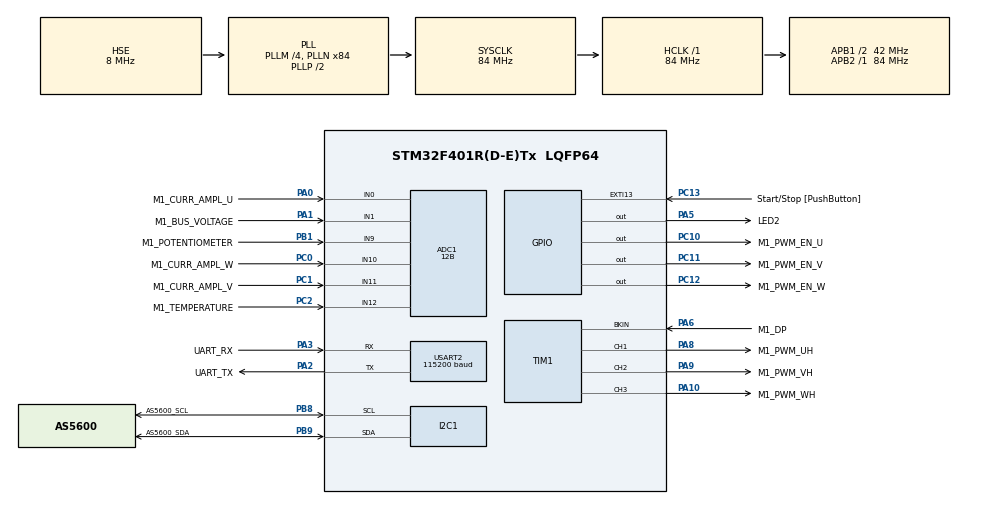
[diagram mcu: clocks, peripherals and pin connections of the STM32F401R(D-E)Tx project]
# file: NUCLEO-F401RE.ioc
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ADC1.Channel-1\#ChannelInjectedConversion=ADC_CHANNEL_0
ADC1.Channel-1\#ChannelRegularConversion=ADC_CHANNEL_1
ADC1.Channel-2\#ChannelInjectedConversion=ADC_CHANNEL_11
ADC1.Channel-2\#ChannelRegularConversion=ADC_CHANNEL_12
ADC1.Channel-3\#ChannelInjectedConversion=ADC_CHANNEL_10
ADC1.Channel-3\#ChannelRegularConversion=ADC_CHANNEL_9
ADC1.ClockPrescaler=ADC_CLOCK_SYNC_PCLK_DIV4
ADC1.ContinuousConvMode=DISABLE
ADC1.DMAContinuousRequests=DISABLE
ADC1.DataAlign=ADC_DATAALIGN_LEFT
ADC1.DiscontinuousConvMode=DISABLE
ADC1.EOCSelection=ADC_EOC_SINGLE_CONV
ADC1.EnableAnalogWatchDog=false
ADC1.EnableInjectedConversion=ENABLE
ADC1.EnableRegularConversion=ENABLE
ADC1.ExternalTrigConv=ADC_SOFTWARE_START
ADC1.ExternalTrigConvEdge=ADC_EXTERNALTRIGCONVEDGE_NONE
ADC1.ExternalTrigInjecConv=ADC_EXTERNALTRIGINJECCONV_T1_CC4
ADC1.ExternalTrigInjecConvEdge=ADC_EXTERNALTRIGINJECCONVEDGE_RISING
ADC1.InjNumberOfConversion=3
ADC1.InjectedConvMode=None
ADC1.InjectedOffset-1\#ChannelInjectedConversion=0
ADC1.InjectedOffset-2\#ChannelInjectedConversion=0
ADC1.InjectedOffset-3\#ChannelInjectedConversion=0
ADC1.InjectedRank-1\#ChannelInjectedConversion=1
ADC1.InjectedRank-2\#ChannelInjectedConversion=2
ADC1.InjectedRank-3\#ChannelInjectedConversion=3
ADC1.NbrOfConversion=3
ADC1.NbrOfConversionFlag=1
ADC1.Offset-1\#ChannelRegularConversion=0
ADC1.Offset-2\#ChannelRegularConversion=0
ADC1.Offset-3\#ChannelRegularConversion=0
ADC1.OffsetNumber-1\#ChannelRegularConversion=ADC_OFFSET_NONE
ADC1.OffsetNumber-2\#ChannelRegularConversion=ADC_OFFSET_NONE
ADC1.OffsetNumber-3\#ChannelRegularConversion=ADC_OFFSET_NONE
ADC1.Rank-1\#ChannelRegularConversion=1
ADC1.Rank-2\#ChannelRegularConversion=2
ADC1.Rank-3\#ChannelRegularConversion=3
ADC1.Resolution=ADC_RESOLUTION_12B
ADC1.SamplingTime-1\#ChannelInjectedConversion=ADC_SAMPLETIME_15CYCLES
ADC1.SamplingTime-1\#ChannelRegularConversion=ADC_SAMPLETIME_28CYCLES
ADC1.SamplingTime-2\#ChannelInjectedConversion=ADC_SAMPLETIME_15CYCLES
ADC1.SamplingTime-2\#ChannelRegularConversion=ADC_SAMPLETIME_28CYCLES
ADC1.SamplingTime-3\#ChannelInjectedConversion=ADC_SAMPLETIME_15CYCLES
ADC1.SamplingTime-3\#ChannelRegularConversion=ADC_SAMPLETIME_28CYCLES
ADC1.ScanConvMode=ENABLE
ADC1.master=1
Dma.Request0=USART2_RX
Dma.Request1=USART2_TX
Dma.USART2_RX.0.Direction=DMA_PERIPH_TO_MEMORY
Dma.USART2_RX.0.FIFOMode=DMA_FIFOMODE_DISABLE
Dma.USART2_RX.0.Instance=DMA1_Stream5
Dma.USART2_RX.0.MemDataAlignment=DMA_MDATAALIGN_BYTE
Dma.USART2_RX.0.MemInc=DMA_MINC_ENABLE
Dma.USART2_RX.0.Mode=DMA_NORMAL
Dma.USART2_RX.0.PeriphDataAlignment=DMA_PDATAALIGN_BYTE
Dma.USART2_RX.0.PeriphInc=DMA_PINC_DISABLE
Dma.USART2_RX.0.Priority=DMA_PRIORITY_LOW
Dma.USART2_TX.1.Direction=DMA_MEMORY_TO_PERIPH
Dma.USART2_TX.1.FIFOMode=DMA_FIFOMODE_DISABLE
Dma.USART2_TX.1.Instance=DMA1_Stream6
Dma.USART2_TX.1.MemDataAlignment=DMA_MDATAALIGN_BYTE
Dma.USART2_TX.1.MemInc=DMA_MINC_ENABLE
Dma.USART2_TX.1.Mode=DMA_NORMAL
Dma.USART2_TX.1.PeriphDataAlignment=DMA_PDATAALIGN_BYTE
Dma.USART2_TX.1.PeriphInc=DMA_PINC_DISABLE
Dma.USART2_TX.1.Priority=DMA_PRIORITY_LOW
ExtraMW=MotorControl
ExtraMW.MotorControl.Config=MotorControl
ExtraMW.MotorControl.Mode=MotorControl
ExtraMW.MotorControl.Root=MCSDK_v6.4.2-Full/MotorControl
ExtraMW.MotorControl.Template=templates
I2C1.I2C_Mode=I2C_Fast
Mcu.Family=STM32F4
Mcu.Name=STM32F401R(D-E)Tx
Mcu.Package=LQFP64
MotorControl.ADC_AHBPERIPH=RCC_AHBPeriph_ADC1
MotorControl.ADC_CLOCK_WB_DIV=1
MotorControl.ADC_PERIPH=ADC1
MotorControl.ADC_REFERENCE_VOLTAGE=3.3
MotorControl.BOARD=NUCLEO-F401RE
MotorControl.BUS_VOLTAGE_READING=true
MotorControl.CCMRAM_ENABLED=false
MotorControl.CLOCK_FREQUENCY=CPU_CLK_84_MHZ
MotorControl.CLOCK_SOURCE=EXTERNAL
MotorControl.CPU_CLK_84_MHZ=true
MotorControl.CTLBOARD_NAME=NUCLEO-F401RE
MotorControl.CUBE_MX_VER=6.18.0
MotorControl.CURRENT_READING_TOPOLOGY=THREE_SHUNT
MotorControl.CURR_SAMPLING_TIME=15
MotorControl.DBG_MCU_LOAD_MEASURE=true
MotorControl.DEBUG_DAC_FUNCTIONALITY_EN=false
MotorControl.DP_EMERGENCY_STOP_GPIO_PIN=LL_GPIO_PIN_6
MotorControl.DP_EMERGENCY_STOP_GPIO_PORT=GPIOA
MotorControl.DRIVES_NUMBER_SELECTION=SINGLEDRIVE
MotorControl.DRIVE_NUMBER=1
MotorControl.DRIVE_TYPE=FOC
MotorControl.ENCODER_AVAILABLE=false
MotorControl.ENCODER_PPR=400
MotorControl.EXT_CLK_8_MHZ=true
MotorControl.EXT_CLOCK_FREQUENCY=EXT_CLK_8_MHZ
MotorControl.FEEDBACK_NET_FILTERING=false
MotorControl.FLASH_SIZE=512
MotorControl.HALL_SENSORS_AVAILABLE=false
MotorControl.HIGH_SIDE_IDLE_STATE=false
MotorControl.HWV_CS=ThreeShunt_AmplifiedCurrents
MotorControl.HWV_DP=SingleErrorTrigger_FixedReference
MotorControl.HWV_POTENTIOMETER=Potentiometer
MotorControl.HWV_PWM=DrivingHighSidesAndThreeEnables
MotorControl.HW_COMPLEMENTED_LOW_SIDE=true
MotorControl.HW_DEAD_TIME_NS=1000
MotorControl.IPs=NVIC,RCC,SYS,MotorControl,TIM1,ADC1,USART2,DMA
MotorControl.LOW_MEMORY_FOOTPRINT_REG=false
MotorControl.LOW_SIDE_IDLE_STATE=false
MotorControl.LOW_SIDE_SIGNALS_ENABLING=ES_GPIO
MotorControl.M1_AMPLIFICATION_GAIN=1.53
MotorControl.M1_ANGC={0,0,0,0,0,0,0,0}
MotorControl.M1_AUXILIARY_SPEED_SENSOR=NONE
MotorControl.M1_BEMF_CONSISTENCY_GAIN=64
MotorControl.M1_BEMF_CONSISTENCY_TOL=64
MotorControl.M1_BOARD_MAX_CURRENT=2
MotorControl.M1_BUS_VOLTAGE_READING=true
MotorControl.M1_COMMUTATION_STEP_TIME_BUF_SIZE=12
MotorControl.M1_CONSTANT1_D=68158
MotorControl.M1_CONSTANT1_Q=68158
MotorControl.M1_CONSTANT2_QD=12009
MotorControl.M1_CS_ADC_NUM=1
MotorControl.M1_CS_ADC_PHASE_SHARED=NONE
MotorControl.M1_CS_ADC_U=ADC1
MotorControl.M1_CS_ADC_V=ADC1
MotorControl.M1_CS_ADC_W=ADC1
MotorControl.M1_CS_CHANNEL_U=0
MotorControl.M1_CS_CHANNEL_V=11
MotorControl.M1_CS_CHANNEL_W=10
MotorControl.M1_CURRENT_AMPLIFICATION_TOPO=EXTERNAL
MotorControl.M1_CURRENT_SENSING_TOPO=THREE_SHUNT
MotorControl.M1_CURR_SAMPLING_TIME=15
MotorControl.M1_DBG_OPEN_LOOP_ENABLE=false
MotorControl.M1_DC_CURRENT_RS_MEAS=2
MotorControl.M1_DEFAULT_CONTROL_MODE=STC_SPEED_MODE
MotorControl.M1_DEFAULT_FLUX_COMPONENT=0
MotorControl.M1_DEFAULT_TARGET_SPEED_RPM=901
MotorControl.M1_DEFAULT_TORQUE_COMPONENT=0
MotorControl.M1_DISCONTINUOUS_PWM=false
MotorControl.M1_DP_BKIN_FILTER=4
MotorControl.M1_DP_BKIN_MODE=EXT_MODE
MotorControl.M1_DP_BKIN_POLARITY=EMSTOP_ACTIVE_LOW
MotorControl.M1_DP_DESTINATION=TIM_BKIN
MotorControl.M1_DP_TOPOLOGY=EXTERNAL
MotorControl.M1_DRIVE_TYPE=FOC
MotorControl.M1_ENABLE_SL_ALGO_FROM_PHASE=2
MotorControl.M1_ENCODER_PPR=400
MotorControl.M1_F1=16384
MotorControl.M1_F2=8192
MotorControl.M1_FEED_FORWARD_CURRENT_REG_ENABLING=true
MotorControl.M1_FLUX_WEAKENING_ENABLING=true
MotorControl.M1_FW_KIDIV=32768
MotorControl.M1_FW_KI_GAIN=5000
MotorControl.M1_FW_KPDIV=32768
MotorControl.M1_FW_KP_GAIN=3000
MotorControl.M1_FW_VOLTAGE_REF=985
MotorControl.M1_GAIN1=-21509
MotorControl.M1_GAIN2=26133
MotorControl.M1_HALL_PHASE_SHIFT=300
MotorControl.M1_HALL_SENSORS_PLACEMENT=DEGREES_120
MotorControl.M1_HIGH_SIDE_IDLE_STATE=false
MotorControl.M1_HW_DEAD_TIME_NS=1000
MotorControl.M1_ICL_ENABLED=false
MotorControl.M1_ID_DEMAG=-2
MotorControl.M1_IQMAX=2
MotorControl.M1_LDLQ_RATIO=1.000
MotorControl.M1_LOW_SIDE_IDLE_STATE=false
MotorControl.M1_LOW_SIDE_SIGNALS_ENABLING=ES_GPIO
MotorControl.M1_LS=0.0008
MotorControl.M1_MAX_APPLICATION_SPEED=2502
MotorControl.M1_MAX_MODULATION_INDEX=90
MotorControl.M1_MIN_APPLICATION_SPEED=0
MotorControl.M1_MOTOR_MAX_SPEED_RPM=2502
MotorControl.M1_MOTOR_NAME=yuntai2804
MotorControl.M1_MOTOR_RATED_FLUX=0.023185554
MotorControl.M1_MOTOR_VOLTAGE_CONSTANT=3.3
MotorControl.M1_MTPA_ENABLING=false
MotorControl.M1_NB_CONSECUTIVE_TESTS=2
MotorControl.M1_NOMINAL_BUS_VOLTAGE_V=12
MotorControl.M1_NOMINAL_CURRENT=2
MotorControl.M1_OBS_MINIMUM_SPEED_RPM=901
MotorControl.M1_OCP_TOPOLOGY=NONE
MotorControl.M1_OFST={0,0,0,0,0,0,0,0}
MotorControl.M1_ON_OVER_VOLTAGE=TURN_OFF_PWM
MotorControl.M1_OVERMODULATION=false
MotorControl.M1_OVP_THRESHOLD_HIGH=14.7
MotorControl.M1_OV_TEMPERATURE_HYSTERESIS_C=10
MotorControl.M1_OV_TEMPERATURE_PROT_ENABLING=true
MotorControl.M1_OV_TEMPERATURE_THRESHOLD_C=110
MotorControl.M1_OV_VOLTAGE_PROT_ENABLING=true
MotorControl.M1_OV_VOLTAGE_THRESHOLD_V=14.7
MotorControl.M1_PHASE1_DURATION=1000
MotorControl.M1_PHASE1_FINAL_CURRENT=2
MotorControl.M1_PHASE1_FINAL_SPEED_RPM=0
MotorControl.M1_PHASE2_DURATION=2002
MotorControl.M1_PHASE2_FINAL_CURRENT=2
MotorControl.M1_PHASE2_FINAL_SPEED_RPM=1001
MotorControl.M1_PHASE3_DURATION=0
MotorControl.M1_PHASE3_FINAL_CURRENT=2
MotorControl.M1_PHASE3_FINAL_SPEED_RPM=1001
MotorControl.M1_PHASE4_DURATION=0
MotorControl.M1_PHASE4_FINAL_CURRENT=2
MotorControl.M1_PHASE4_FINAL_SPEED_RPM=1001
MotorControl.M1_PHASE5_DURATION=0
MotorControl.M1_PHASE5_FINAL_CURRENT=2
MotorControl.M1_PHASE5_FINAL_SPEED_RPM=1001
MotorControl.M1_PID_FLUX_KD_DEFAULT=100
MotorControl.M1_PID_FLUX_KI_DEFAULT=2622
MotorControl.M1_PID_FLUX_KP_DEFAULT=2627
MotorControl.M1_PID_SPEED_KD_DEFAULT=0
MotorControl.M1_PID_SPEED_KI_DEFAULT=48
MotorControl.M1_PID_SPEED_KP_DEFAULT=2881
MotorControl.M1_PID_TORQUE_KD_DEFAULT=100
MotorControl.M1_PID_TORQUE_KI_DEFAULT=2622
MotorControl.M1_PID_TORQUE_KP_DEFAULT=2627
MotorControl.M1_PLL_KI_GAIN=26
MotorControl.M1_PLL_KP_GAIN=582
MotorControl.M1_POLE_PAIR_NUM=7
MotorControl.M1_POSITION_CTRL_ENABLING=false
MotorControl.M1_POTENTIOMETER_ENABLE=true
MotorControl.M1_POWERBOARD_NAME=X-NUCLEO-IHM07M1
MotorControl.M1_PWM_CHARGE_BOOT_CAP_DUTY_CYCLES=0.000
MotorControl.M1_PWM_CHARGE_BOOT_CAP_MS=10
MotorControl.M1_PWM_DRIVER_PN=L6230
MotorControl.M1_PWM_FREQUENCY=16000
MotorControl.M1_PWM_TIMER_BRK_IRQ=TIM1_BRK_TIM9
MotorControl.M1_PWM_TIMER_SELECTION=PWM_TIM1
MotorControl.M1_PWM_TIMER_UP_IRQ=TIM1_UP_TIM10
MotorControl.M1_REGULATION_EXECUTION_RATE=1
MotorControl.M1_RS=3.19
MotorControl.M1_RSHUNT=0.33
MotorControl.M1_SEGDIV=0
MotorControl.M1_SHARED_SIGNAL_ENABLE=false
MotorControl.M1_SPD_DIFFERENTIAL_TERM_ENABLING=false
MotorControl.M1_SPEED_BAND_LOWER_LIMIT=15
MotorControl.M1_SPEED_BAND_UPPER_LIMIT=17
MotorControl.M1_SPEED_FEEDBACK_CHECK=true
MotorControl.M1_SPEED_LOOP_FREQUENCY_HZ=1000
MotorControl.M1_SPEED_SENSOR=STO_PLL
MotorControl.M1_SP_KDDIV=16
MotorControl.M1_SP_KIDIV=16384
MotorControl.M1_SP_KPDIV=512
MotorControl.M1_SS_MEAS_ERRORS_BEFORE_FAULTS=3
MotorControl.M1_STARTING_ANGLE_DEG=0
MotorControl.M1_STO_FIFO_DEPTH_01HZ=64
MotorControl.M1_STO_FIFO_DEPTH_DPP=64
MotorControl.M1_SW_DEADTIME_NS=1000
MotorControl.M1_T0_C=25
MotorControl.M1_TEMPERATURE_READING=true
MotorControl.M1_TEMP_ADC_SAMPLING_TIME=28
MotorControl.M1_TEMP_FDBK_ADC=ADC1
MotorControl.M1_TEMP_FDBK_CHANNEL=ADC_CHANNEL_12
MotorControl.M1_TF_KDDIV=8192
MotorControl.M1_TF_KIDIV=4096
MotorControl.M1_TF_KPDIV=1024
MotorControl.M1_TNOISE_NS=700
MotorControl.M1_TRANSITION_DURATION=25
MotorControl.M1_TRISE_NS=1800
MotorControl.M1_T_MAX=110
MotorControl.M1_UD_VOLTAGE_THRESHOLD_V=8.0
MotorControl.M1_USE_INTERNAL_OPAMP=false
MotorControl.M1_UV_VOLTAGE_PROT_ENABLING=true
MotorControl.M1_V0_V=1.055
MotorControl.M1_VARIANCE_THRESHOLD=0.25
MotorControl.M1_VBUS_ADC=ADC1
MotorControl.M1_VBUS_ADC_SAMPLING_TIME=28
MotorControl.M1_VBUS_CHANNEL=ADC_CHANNEL_1
MotorControl.M1_VBUS_PARTITIONING_FACTOR=0.052164840897235255
MotorControl.M1_dV_dT=0.023
MotorControl.MAX_READABLE_CURRENT=3.272
MotorControl.MCPA_OVER_UART_A_STREAM=10
MotorControl.MCP_ASPEP_OVER_UART=true
MotorControl.MCP_ASYNC_EN=true
MotorControl.MCP_ASYNC_OVER_ASPEP_EN=true
MotorControl.MCP_ASYNC_OVER_UART_A_EN=true
MotorControl.MCP_DMACH_RX_UART_A=5
MotorControl.MCP_DMACH_TX_UART_A=6
MotorControl.MCP_DMA_RX_UART_A=DMA1
MotorControl.MCP_DMA_TX_UART_A=DMA1
MotorControl.MCP_EN=true
MotorControl.MCP_IRQ_HANDLER_DMA_RX_UART_A=DMA1_Stream5_IRQHandler
MotorControl.MCP_IRQ_HANDLER_UART_A=USART2_IRQHandler
MotorControl.MCP_OVER_ASPEP_EN=true
MotorControl.MCP_OVER_STLNK_EN=false
MotorControl.MCP_OVER_UART_A_EN=true
MotorControl.MCP_OVER_UART_B_EN=false
MotorControl.MCP_RX_SYNC_PAYLOAD_MAX=128
MotorControl.MCP_TX_ASYNC_PAYLOAD_MAX_UART_A=2048
MotorControl.MCP_TX_SYNC_PAYLOAD_MAX=128
MotorControl.MCU=STM32F401RE
MotorControl.MCU_FAMILY=STM32F4
MotorControl.MCU_LINE=STM32F401
MotorControl.MCU_NAME=STM32F401R(D-E)Tx
MotorControl.MCU_PACKAGE=LQFP64
MotorControl.MCU_TYPE=STM32F401RE
MotorControl.MCU_USERNAME=STM32F401RETx
MotorControl.MC_WORKBENCH_VERSION=6.4.2
MotorControl.MOTOR_PROFILER=false
MotorControl.MOTOR_TYPE=PMSM
MotorControl.ON_OVER_VOLTAGE=TURN_OFF_PWM
MotorControl.OV_TEMPERATURE_PROT_ENABLING=true
MotorControl.OV_VOLTAGE_PROT_ENABLING=true
MotorControl.PHASE_UH_GPIO_PIN=LL_GPIO_PIN_8
MotorControl.PHASE_UH_GPIO_PORT=GPIOA
MotorControl.PHASE_UH_POLARITY=H_ACTIVE_HIGH
MotorControl.PHASE_UL_GPIO_PIN=LL_GPIO_PIN_10
MotorControl.PHASE_UL_GPIO_PORT=GPIOC
MotorControl.PHASE_UL_POLARITY=L_ACTIVE_HIGH
MotorControl.PHASE_U_CURR_ADC=ADC1
MotorControl.PHASE_U_CURR_CHANNEL=ADC_CHANNEL_0
MotorControl.PHASE_U_GPIO_PIN=LL_GPIO_PIN_0
MotorControl.PHASE_U_GPIO_PORT=GPIOA
MotorControl.PHASE_U_PWM_CHANNEL=TIM_Channel_1
MotorControl.PHASE_VH_GPIO_PIN=LL_GPIO_PIN_9
MotorControl.PHASE_VH_GPIO_PORT=GPIOA
MotorControl.PHASE_VH_POLARITY=H_ACTIVE_HIGH
MotorControl.PHASE_VL_GPIO_PIN=LL_GPIO_PIN_11
MotorControl.PHASE_VL_GPIO_PORT=GPIOC
MotorControl.PHASE_VL_POLARITY=L_ACTIVE_HIGH
MotorControl.PHASE_V_CURR_ADC=ADC1
MotorControl.PHASE_V_CURR_CHANNEL=ADC_CHANNEL_11
MotorControl.PHASE_V_GPIO_PIN=LL_GPIO_PIN_1
MotorControl.PHASE_V_GPIO_PORT=GPIOC
MotorControl.PHASE_V_PWM_CHANNEL=TIM_Channel_2
MotorControl.PHASE_WH_GPIO_PIN=LL_GPIO_PIN_10
MotorControl.PHASE_WH_GPIO_PORT=GPIOA
MotorControl.PHASE_WH_POLARITY=H_ACTIVE_HIGH
MotorControl.PHASE_WL_GPIO_PIN=LL_GPIO_PIN_12
MotorControl.PHASE_WL_GPIO_PORT=GPIOC
MotorControl.PHASE_WL_POLARITY=L_ACTIVE_HIGH
MotorControl.PHASE_W_CURR_ADC=ADC1
MotorControl.PHASE_W_CURR_CHANNEL=ADC_CHANNEL_10
MotorControl.PHASE_W_GPIO_PIN=LL_GPIO_PIN_0
MotorControl.PHASE_W_GPIO_PORT=GPIOC
MotorControl.PHASE_W_PWM_CHANNEL=TIM_Channel_3
MotorControl.POTENTIOMETER_ADC=ADC1
MotorControl.POTENTIOMETER_ADC_SAMPLING_TIME=28
MotorControl.POTENTIOMETER_CHANNEL=ADC_CHANNEL_9
MotorControl.POTENTIOMETER_GPIO_PIN=LL_GPIO_PIN_1
MotorControl.POTENTIOMETER_GPIO_PORT=GPIOB
MotorControl.POTENTIOMETER_READING=true
MotorControl.PWM_FREQUENCY=16000
MotorControl.PWM_TIMER_SELECTION=PWM_TIM1
MotorControl.REGULATION_EXECUTION_RATE=1
MotorControl.RTOS=NONE
MotorControl.R_BRAKE_SWITCH_OFF_THRES_V=12
MotorControl.SINGLEDRIVE=true
MotorControl.SPD_DIFFERENTIAL_TERM_ENABLING=false
MotorControl.SPEED_SENSOR_SELECTION=STATE_OBSERVER_PLL
MotorControl.START_STOP_BTN=true
MotorControl.START_STOP_GPIO_IRQ=EXTI15_10
MotorControl.START_STOP_GPIO_PIN=LL_GPIO_PIN_13
MotorControl.START_STOP_GPIO_PORT=GPIOC
MotorControl.START_STOP_POLARITY=DIN_ACTIVE_LOW
MotorControl.START_STOP_POLARITY_EDGE=GPIO_NOPULL
MotorControl.STATE_OBSERVER_PLL=true
MotorControl.STM32F401RE=true
MotorControl.SW_DEADTIME_NS=1000
MotorControl.TEMPERATURE_READING=true
MotorControl.TEMP_ADC_SAMPLING_TIME=28
MotorControl.TEMP_FDBK_ADC=ADC1
MotorControl.TEMP_FDBK_CHANNEL=ADC_CHANNEL_12
MotorControl.TEMP_FDBK_GPIO_PIN=LL_GPIO_PIN_2
MotorControl.TEMP_FDBK_GPIO_PORT=GPIOC
MotorControl.TFDIFFERENTIAL_TERM_ENABLING=false
MotorControl.THREE_SHUNT=true
MotorControl.TRISE_NS=1800
MotorControl.USART_RX_GPIO_PIN=LL_GPIO_PIN_3
MotorControl.USART_RX_GPIO_PORT=GPIOA
MotorControl.USART_SELECTION=USE_USART2
MotorControl.USART_SELECTION_A=USART2
MotorControl.USART_SPEED=921600
MotorControl.USART_TX_GPIO_PIN=LL_GPIO_PIN_2
MotorControl.USART_TX_GPIO_PORT=GPIOA
MotorControl.USE_3OPAMPS=false
MotorControl.USE_INTERNAL_OPAMP=false
MotorControl.UV_VOLTAGE_PROT_ENABLING=true
MotorControl.VBUS_ADC=ADC1
MotorControl.VBUS_ADC_SAMPLING_TIME=28
MotorControl.VBUS_CHANNEL=ADC_CHANNEL_1
MotorControl.VBUS_GPIO_PIN=LL_GPIO_PIN_1
MotorControl.VBUS_GPIO_PORT=GPIOA
MotorControl.WB_MX_HEAPSIZE=0x200
MotorControl.WB_MX_STACKSIZE=0x400
MotorControl.WB_MX_TRUSTZONE_AVAILABLE=false
MotorControl.WB_UI_CUTOFF_FREQUENCY=6000
MotorControl.WB_UI_DP_DISABLING_ENABLE=false
MotorControl.WB_UI_ENCODER_HAS_INDEX_PIN=false
MotorControl.WB_UI_FLUX_TARGET=0
MotorControl.WB_UI_FRICTION=0.33
MotorControl.WB_UI_INERTIA=0.64
MotorControl.WB_UI_MAGNETIC_STRUCTURE=SM-PMSM
MotorControl.WB_UI_MAX_CURRENT=2
MotorControl.WB_UI_MAX_NOMINAL_DC_VOLTAGE=12
MotorControl.WB_UI_MAX_PWMFREQUENCY=100000
MotorControl.WB_UI_MOTOR_DESCRIPTION=7pole-2502rpm-2apk
MotorControl.WB_UI_PW_BOARD_MAX_RATED_CURRENT=2.8
MotorControl.WB_UI_PW_BOARD_MAX_VOLTAGE=48
MotorControl.WB_UI_PW_BOARD_MIN_VOLTAGE=8
MotorControl.WB_UI_VPOL=1.559
MotorControl.WB_to_Mx_template_version=25-05-06
MotorControl.WB_to_Mx_version=6.4.2
NVIC.ADC_IRQn=true\:2\:0\:true\:true\:false\:3\:false\:true\:true
NVIC.DMA1_Stream5_IRQn=true\:3\:0\:true\:true\:false\:2\:true\:true\:true
NVIC.EXTI15_10_IRQn=true\:3\:0\:false\:true\:false\:6\:true\:true\:true
NVIC.PriorityGroup=NVIC_PRIORITYGROUP_3
NVIC.TIM1_BRK_TIM9_IRQn=true\:4\:1\:false\:true\:false\:5\:true\:true\:true
NVIC.TIM1_UP_TIM10_IRQn=true\:0\:0\:false\:true\:false\:4\:true\:true\:true
NVIC.USART2_IRQn=true\:3\:1\:true\:true\:false\:1\:true\:true\:true
PA0-WKUP.GPIO_Label=M1_CURR_AMPL_U
PA0-WKUP.Signal=ADCx_IN0
PA1.GPIO_Label=M1_BUS_VOLTAGE
PA1.Signal=ADCx_IN1
PA10.GPIO_Label=M1_PWM_WH
PA10.GPIO_PuPd=GPIO_PULLDOWN
PA10.GPIO_Speed=GPIO_SPEED_FREQ_HIGH
PA10.Signal=S_TIM1_CH3
PA2.GPIO_Label=UART_TX
PA2.GPIO_Mode=GPIO_MODE_AF_PP
PA2.GPIO_PuPd=GPIO_NOPULL
PA2.GPIO_Speed=GPIO_SPEED_FREQ_LOW
PA2.Mode=Asynchronous
PA2.Signal=USART2_TX
PA3.GPIO_Label=UART_RX
PA3.GPIO_Mode=GPIO_MODE_AF_PP
PA3.GPIO_PuPd=GPIO_NOPULL
PA3.GPIO_Speed=GPIO_SPEED_FREQ_LOW
PA3.Mode=Asynchronous
PA3.Signal=USART2_RX
PA5.GPIO_Label=LED2
PA5.GPIO_PuPd=GPIO_PULLDOWN
PA5.PinState=GPIO_PIN_SET
PA5.Signal=GPIO_Output
PA6.GPIO_Label=M1_DP
PA6.GPIO_PuPd=GPIO_PULLUP
PA6.Mode=Activate-Break-Input
PA6.Signal=TIM1_BKIN
PA8.GPIO_Label=M1_PWM_UH
PA8.GPIO_PuPd=GPIO_PULLDOWN
PA8.GPIO_Speed=GPIO_SPEED_FREQ_HIGH
PA8.Signal=S_TIM1_CH1
PA9.GPIO_Label=M1_PWM_VH
PA9.GPIO_PuPd=GPIO_PULLDOWN
PA9.GPIO_Speed=GPIO_SPEED_FREQ_HIGH
PA9.Signal=S_TIM1_CH2
PB1.GPIO_Label=M1_POTENTIOMETER
PB1.Signal=ADCx_IN9
PB8.GPIO_Label=AS5600_SCL
PB8.Mode=I2C
PB8.Signal=I2C1_SCL
PB9.GPIO_Label=AS5600_SDA
PB9.Mode=I2C
PB9.Signal=I2C1_SDA
PC0.GPIO_Label=M1_CURR_AMPL_W
PC0.Signal=ADCx_IN10
PC1.GPIO_Label=M1_CURR_AMPL_V
PC1.Signal=ADCx_IN11
PC10.GPIO_Label=M1_PWM_EN_U
PC10.GPIO_PuPd=GPIO_PULLDOWN
PC10.GPIO_Speed=GPIO_SPEED_FREQ_HIGH
PC10.Signal=GPIO_Output
PC11.GPIO_Label=M1_PWM_EN_V
PC11.GPIO_PuPd=GPIO_PULLDOWN
PC11.GPIO_Speed=GPIO_SPEED_FREQ_HIGH
PC11.Signal=GPIO_Output
PC12.GPIO_Label=M1_PWM_EN_W
PC12.GPIO_PuPd=GPIO_PULLDOWN
PC12.GPIO_Speed=GPIO_SPEED_FREQ_HIGH
PC12.Signal=GPIO_Output
PC13-ANTI_TAMP.GPIO_Label=Start/Stop [PushButton]
PC13-ANTI_TAMP.GPIO_ModeDefaultEXTI=GPIO_MODE_IT_FALLING
PC13-ANTI_TAMP.GPIO_PuPd=GPIO_NOPULL
PC13-ANTI_TAMP.Signal=GPXTI13
PC2.GPIO_Label=M1_TEMPERATURE
PC2.Signal=ADCx_IN12
PH0\ -\ OSC_IN.Mode=HSE-External-Oscillator
PH0\ -\ OSC_IN.Signal=RCC_OSC_IN
PH1\ -\ OSC_OUT.Mode=HSE-External-Oscillator
PH1\ -\ OSC_OUT.Signal=RCC_OSC_OUT
ProjectManager.HeapSize=0x200
ProjectManager.StackSize=0x400
ProjectManager.TargetToolchain=MDK-ARM V5
RCC.48MHZClocksFreq_Value=42000000
RCC.AHBFreq_Value=84000000
RCC.APB1CLKDivider=RCC_HCLK_DIV2
RCC.APB1Freq_Value=42000000
RCC.APB1TimFreq_Value=84000000
RCC.APB2Freq_Value=84000000
RCC.APB2TimFreq_Value=84000000
RCC.CortexFreq_Value=84000000
RCC.EnbaleCSS=true
RCC.HCLKFreq_Value=84000000
RCC.HSE_VALUE=8000000
RCC.HSI_VALUE=16000000
RCC.LSE_VALUE=32768
RCC.PLLM=4
RCC.PLLN=84
RCC.PLLSourceVirtual=RCC_PLLSOURCE_HSE
RCC.PREFETCH_ENABLE=1
RCC.SYSCLKFreq_VALUE=84000000
RCC.SYSCLKSource=RCC_SYSCLKSOURCE_PLLCLK
RCC.VCOOutputFreq_Value=168000000
SH.ADCx_IN0.0=ADC1_IN0,IN0
SH.ADCx_IN1.0=ADC1_IN1,IN1
SH.ADCx_IN10.0=ADC1_IN10,IN10
SH.ADCx_IN11.0=ADC1_IN11,IN11
SH.ADCx_IN12.0=ADC1_IN12,IN12
SH.ADCx_IN9.0=ADC1_IN9,IN9
SH.S_TIM1_CH1.0=TIM1_CH1,PWM Generation1 CH1
SH.S_TIM1_CH2.0=TIM1_CH2,PWM Generation2 CH2
SH.S_TIM1_CH3.0=TIM1_CH3,PWM Generation3 CH3
TIM1.AutoReloadPreload=TIM_AUTORELOAD_PRELOAD_DISABLE
TIM1.AutomaticOutput=TIM_AUTOMATICOUTPUT_DISABLE
TIM1.BreakPolarity=TIM_BREAKPOLARITY_LOW
TIM1.BreakState=TIM_BREAK_ENABLE
TIM1.Channel-PWM\ Generation1\ CH1=TIM_CHANNEL_1
TIM1.Channel-PWM\ Generation2\ CH2=TIM_CHANNEL_2
TIM1.Channel-PWM\ Generation3\ CH3=TIM_CHANNEL_3
TIM1.Channel-PWM\ Generation4\ No\ Output=TIM_CHANNEL_4
TIM1.ClearInputSource=TIM_CLEARINPUTSOURCE_NONE
TIM1.ClockDivision=TIM_CLOCKDIVISION_DIV2
TIM1.CounterMode=TIM_COUNTERMODE_CENTERALIGNED1
TIM1.LockLevel=TIM_LOCKLEVEL_OFF
TIM1.OC1Preload_PWM=ENABLE
TIM1.OC2Preload_PWM=ENABLE
TIM1.OC3Preload_PWM=ENABLE
TIM1.OC4Preload_PWM=ENABLE
TIM1.OCIdleState_1=TIM_OCIDLESTATE_RESET
TIM1.OCIdleState_2=TIM_OCIDLESTATE_RESET
TIM1.OCIdleState_3=TIM_OCIDLESTATE_RESET
TIM1.OCIdleState_4=TIM_OCIDLESTATE_RESET
TIM1.OCMode_PWM-PWM\ Generation1\ CH1=TIM_OCMODE_PWM1
TIM1.OCMode_PWM-PWM\ Generation2\ CH2=TIM_OCMODE_PWM1
TIM1.OCMode_PWM-PWM\ Generation3\ CH3=TIM_OCMODE_PWM1
TIM1.OCMode_PWM-PWM\ Generation4\ No\ Output=TIM_OCMODE_PWM2
TIM1.OCPolarity_1=TIM_OCPOLARITY_HIGH
TIM1.OCPolarity_2=TIM_OCPOLARITY_HIGH
TIM1.OCPolarity_3=TIM_OCPOLARITY_HIGH
TIM1.OCPolarity_4=TIM_OCPOLARITY_HIGH
TIM1.OffStateIDLEMode=TIM_OSSI_ENABLE
TIM1.OffStateRunMode=TIM_OSSR_ENABLE
TIM1.Period=((PWM_PERIOD_CYCLES) / 2)
TIM1.Prescaler=((TIM_CLOCK_DIVIDER) - 1)
TIM1.Pulse-PWM\ Generation1\ CH1=((PWM_PERIOD_CYCLES) / 4)
TIM1.Pulse-PWM\ Generation2\ CH2=((PWM_PERIOD_CYCLES) / 4)
TIM1.Pulse-PWM\ Generation3\ CH3=((PWM_PERIOD_CYCLES) / 4)
TIM1.Pulse-PWM\ Generation4\ No\ Output=(((PWM_PERIOD_CYCLES) / 2) - (HTMIN))
TIM1.RepetitionCounter=(REP_COUNTER)
TIM1.TIM_MasterOutputTrigger=TIM_TRGO_RESET
TIM1.TIM_MasterSlaveMode=TIM_MASTERSLAVEMODE_DISABLE
USART2.BaudRate=115200
USART2.VirtualMode=VM_ASYNC
USART2.VirtualMode-Asynchronous=VM_ASYNC
USART2.WordLength=WORDLENGTH_8B
VP_MotorControl_MC_ENABLED.Mode=Enabled
VP_TIM1_VS_no_output4.Mode=PWM Generation4 No Output
board=custom

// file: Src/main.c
/* USER CODE BEGIN Header */
/**
  ******************************************************************************
  * @file           : main.c
  * @brief          : Main program body
  ******************************************************************************
  * @attention
  *
  * Copyright (c) 2026 STMicroelectronics.
  * All rights reserved.
  *
  * This software is licensed under terms that can be found in the LICENSE file
  * in the root directory of this software component.
  * If no LICENSE file comes with this software, it is provided AS-IS.
  *
  ******************************************************************************
  */
/* USER CODE END Header */
#include "main.h"
#include "adc.h"
#include "dma.h"
#include "i2c.h"
#include "tim.h"
#include "usart.h"
#include "gpio.h"

/* USER CODE BEGIN Includes */
#include "encoder.h"
#include "transform.h"
#include "svpwm.h"
#include "motor_control.h"
/* USER CODE END Includes */

/* USER CODE BEGIN PD */
/* ---- 开环强拖参数 ---- */
#define OL_UQ_ALIGN_V   0.50f    /* 对齐电压（V）：0.5 / Rs 3.19Ω ≈ 0.16A */
#define OL_ALIGN_MS     2000u    /* 对齐时长（ms） */
#define OL_UQ_RUN_V     0.80f    /* 旋转电压指令（V）：0.8 / Rs 3.19Ω ≈ 0.25A */
#define OL_FE_HZ        0.50f    /* 电气频率（Hz）：0.5 → 机械 4.3 rpm，1 圈约 14s */
#define OL_DIR         -1.0f     /* 旋转方向：+1 = 角度递增，-1 = 角度递减（反转）*/
#define OL_TICK_MS      1u       /* 控制周期（ms） */
#define OL_PRINT_MS     500u     /* 打印节流（ms） */
/* USER CODE END PD */

/* USER CODE BEGIN PV */
/* 开环强拖状态 */
static uint8_t  ol_state   = 0;      /* 0 = 对齐，1 = 旋转 */
static float    ol_theta_e = 0.0f;   /* 电角度（rad），即 Uref 的方向 */
static uint32_t ol_tState  = 0;      /* 状态切换时刻 */
static uint32_t ol_tAngle  = 0;      /* 上次角度积分时刻 */
static uint32_t ol_tCtrl   = 0;      /* 上次控制时刻 */
static uint32_t ol_tPrint  = 0;      /* 上次打印时刻 */
static uint32_t ol_revCnt  = 0;      /* 电气圈数 */
/* USER CODE END PV */

void SystemClock_Config(void);
static void MX_NVIC_Init(void);

int main(void)
{

  /* MCU Configuration--------------------------------------------------------*/

  /* Reset of all peripherals, Initializes the Flash interface and the Systick. */
  HAL_Init();

  /* Configure the system clock */
  SystemClock_Config();

  /* Initialize all configured peripherals */
  MX_GPIO_Init();
  MX_DMA_Init();
  MX_ADC1_Init();
  MX_TIM1_Init();
  MX_USART2_UART_Init();
  // MX_MotorControl_Init();
  MX_I2C1_Init();

  /* Initialize interrupts */
  MX_NVIC_Init();
  /* USER CODE BEGIN 2 */
  MotorControl_Init();   /* 启动三路 PWM；此刻三相占空比均为 50%，零矢量，无输出电压 */

  /* 屏蔽 MCSDK 遗留中断：这些处理函数都建立在 MCboot() 初始化过的状态上，而我们没有调用它。
     其中 EXTI15_10 是 PC13 用户按键，误按会跳进 MC_StartMotor1() 去操作未初始化的 PWM 句柄。 */
  HAL_NVIC_DisableIRQ(ADC_IRQn);
  HAL_NVIC_DisableIRQ(TIM1_UP_TIM10_IRQn);
  HAL_NVIC_DisableIRQ(TIM1_BRK_TIM9_IRQn);
  HAL_NVIC_DisableIRQ(EXTI15_10_IRQn);

  /* 启动自检：MOE=1 且三个通道已使能才可能有波形 */
  Printf("\r\nPWM selftest: MOE=%u CCER=0x%04X ARR=%u\r\n",
         (unsigned)((TIM1->BDTR & TIM_BDTR_MOE) ? 1u : 0u),
         (unsigned)TIM1->CCER, (unsigned)htim1.Init.Period);

  /* 使能功率桥：此处三相占空比仍是零矢量，不会产生电流 */
  MotorControl_Enable(1);
  Printf("EN=1 | 7 pole pairs, Rs=3.19ohm, Ke=3.3Vrms(LL)/kRPM, rated 2A\r\n");
  Printf("Phase 1 ALIGN: th_e=0deg, Uq=%.2fV, %ums\r\n", OL_UQ_ALIGN_V, (unsigned)OL_ALIGN_MS);
  Printf("Phase 2 SPIN : dir=%.0f, fe=%.2fHz (mech %.1f rpm), Uq=%.2fV\r\n\r\n",
         OL_DIR, OL_FE_HZ, OL_FE_HZ * 60.0f / 7.0f, OL_UQ_RUN_V);

  ol_tState = HAL_GetTick();
  /* USER CODE END 2 */

  /* Infinite loop */
  while (1)
  {

    /* USER CODE BEGIN 3 */
    uint32_t now = HAL_GetTick();

    if (now - ol_tCtrl >= OL_TICK_MS)          /* 1 kHz 控制周期 */
    {
        ol_tCtrl = now;

        if (ol_state == 0)
        {
            /* 阶段 1 对齐：固定电角度，把转子吸到已知位置 */
            vMotorControlTask(OL_UQ_ALIGN_V, 0.0f, 0.0f);

            if (now - ol_tState >= OL_ALIGN_MS)
            {
                ol_state   = 1;
                ol_tAngle  = now;
                ol_theta_e = 0.0f;
                Printf(">> align done, start spinning\r\n");
            }
        }
        else
        {
            /* 阶段 2 旋转：角度按真实时间积分，打印抖动不会改变电气频率 */
            float dt = (float)(now - ol_tAngle) * 0.001f;
            ol_tAngle = now;

            ol_theta_e += OL_DIR * 2.0f * (float)M_PI * OL_FE_HZ * dt;
            if (ol_theta_e >= 2.0f * (float)M_PI)
            {
                ol_theta_e -= 2.0f * (float)M_PI;
                ol_revCnt++;
            }
            else if (ol_theta_e < 0.0f)
            {
                ol_theta_e += 2.0f * (float)M_PI;
                ol_revCnt++;
            }

            vMotorControlTask(OL_UQ_RUN_V, 0.0f, ol_theta_e);
        }
    }

    /* 每 500 ms 打一行；打印与 I2C 读取都是阻塞的，节流以免扰动 1kHz 控制节拍 */
    if (now - ol_tPrint >= OL_PRINT_MS)
    {
        ol_tPrint = now;
        HAL_GPIO_TogglePin(LED2_GPIO_Port, LED2_Pin);

        /* 读 AS5600 得到的电角度（内部含一次 I2C 读取，约 0.5ms） */
        float enc_e = Encoder_GetElecAngle();
        float cmd_e = ol_theta_e * 180.0f / (float)M_PI;

        /* 编码器零点与电机磁轴零点之间的偏移未知，所以 d 会带一个恒定偏置。
           判断同步看的不是 d 的数值，而是 d 是否【恒定】：恒定 = 转子跟随磁场，
           持续漂移 = 丢步。 */
        float d = cmd_e - enc_e;
        while (d >  180.0f) { d -= 360.0f; }
        while (d < -180.0f) { d += 360.0f; }

        Printf("st:%u cmd:%6.1f enc_e:%6.1f d:%7.1f | duty:%5.3f,%5.3f,%5.3f | rev:%u\r\n",
               (unsigned)ol_state, cmd_e, enc_e, d,
               motorControlConfig.ta, motorControlConfig.tb, motorControlConfig.tc,
               (unsigned)ol_revCnt);
    }

#if 0   /* ---- 阶段2 第3步：SVPWM 数值扫描验证（已通过，见实验记录 20261011，保留备查） ---- */
    static uint32_t lastTick_scan = 0;
    static float theta_deg = 0.0f;   /* 合成矢量的电角度，0° → 345° 循环扫描 */

    if (HAL_GetTick() - lastTick_scan >= 200)   /* 每 200ms 打一行，一行对应一个角度 */
    {
        lastTick_scan = HAL_GetTick();
        /*LED2 闪烁*/
        HAL_GPIO_TogglePin(LED2_GPIO_Port, LED2_Pin);

        /* ================= SVPWM 数值验证（阶段2 第3步） ================= */
        const float M = 1.0f;    /* 调制比 m = √3·|Uref|/Udc，1.0 = 线性区上限 */

        float u  = M / sqrtf(3.0f);              /* 归一化幅值 |Uref|/Udc */
        float th = theta_deg * (M_PI / 180.0f);
        motorControlConfig.ualpha = u * cosf(th) * motorControlConfig.voltage_power_supply;
        motorControlConfig.ubeta  = u * sinf(th) * motorControlConfig.voltage_power_supply;

        Svpwm_Calc(motorControlConfig.ualpha, motorControlConfig.ubeta,
                   motorControlConfig.voltage_power_supply,
                   &motorControlConfig.ta, &motorControlConfig.tb, &motorControlConfig.tc);

        /* 重构不变式：占空比 → 去共模 → Clarke，应等于 1.5×vα/vdc；正确时 err ≈ 0 */
        float un = (motorControlConfig.ta + motorControlConfig.tb + motorControlConfig.tc) / 3.0f;
        float r_alpha = 0.0f, r_beta = 0.0f;
        Transform_Clarke(motorControlConfig.ta - un,
                         motorControlConfig.tb - un,
                         motorControlConfig.tc - un,
                         &r_alpha, &r_beta);
        float e_alpha = 1.5f * motorControlConfig.ualpha / motorControlConfig.voltage_power_supply;
        float e_beta  = 1.5f * motorControlConfig.ubeta  / motorControlConfig.voltage_power_supply;
        float err = sqrtf((r_alpha - e_alpha) * (r_alpha - e_alpha)
                        + (r_beta  - e_beta ) * (r_beta  - e_beta ));

        /* sec 是扫描角度推算的参考扇区，仅便于与手算表对照，不代表算法内部结果 */
        Printf("th:%3.0f sec:%d | duty:%5.3f,%5.3f,%5.3f | err:%9.2e | rec:%6.3f,%6.3f exp:%6.3f,%6.3f\r\n",
               theta_deg, (int)(theta_deg / 60.0f) + 1,
               motorControlConfig.ta, motorControlConfig.tb, motorControlConfig.tc,
               err, r_alpha, r_beta, e_alpha, e_beta);

        theta_deg += 15.0f;
        if (theta_deg >= 360.0f) { theta_deg -= 360.0f; }
        /* =============================================================== */

        /* ---- 阶段2 第2步：坐标变换验证（已通过，保留备查） ----
        float I = 1.0f;
        float theta = Encoder_GetElecRad();
        float ia = I * cosf(theta);
        float ib = I * cosf(theta - 2.0f*M_PI/3.0f);
        float ic = I * cosf(theta + 2.0f*M_PI/3.0f);
        float i_alpha, i_beta, id, iq;
        Transform_Clarke(ia, ib, ic, &i_alpha, &i_beta);
        float sin_val, cos_val;
        Encoder_GetSinCos(&sin_val, &cos_val);
        Transform_Park(i_alpha, i_beta, sin_val, cos_val, &id, &iq);
        Printf("the:%6.1f  ia:%5.2f ib:%5.2f  id:%5.2f iq:%5.2f\r\n", theta * 180.0f / M_PI, i_alpha, i_beta, id, iq);
        ---- 阶段2 第2步验证结束 ---- */
    }
#endif
  }
  /* USER CODE END 3 */
}

void SystemClock_Config(void)
{
  RCC_OscInitTypeDef RCC_OscInitStruct = {0};
  RCC_ClkInitTypeDef RCC_ClkInitStruct = {0};

  /** Configure the main internal regulator output voltage
  */
  __HAL_RCC_PWR_CLK_ENABLE();
  __HAL_PWR_VOLTAGESCALING_CONFIG(PWR_REGULATOR_VOLTAGE_SCALE2);

  /** Initializes the RCC Oscillators according to the specified parameters
  * in the RCC_OscInitTypeDef structure.
  */
  RCC_OscInitStruct.OscillatorType = RCC_OSCILLATORTYPE_HSE;
  RCC_OscInitStruct.HSEState = RCC_HSE_ON;
  RCC_OscInitStruct.PLL.PLLState = RCC_PLL_ON;
  RCC_OscInitStruct.PLL.PLLSource = RCC_PLLSOURCE_HSE;
  RCC_OscInitStruct.PLL.PLLM = 4;
  RCC_OscInitStruct.PLL.PLLN = 84;
  RCC_OscInitStruct.PLL.PLLP = RCC_PLLP_DIV2;
  RCC_OscInitStruct.PLL.PLLQ = 4;
  if (HAL_RCC_OscConfig(&RCC_OscInitStruct) != HAL_OK)
  {
    Error_Handler();
  }

  /** Initializes the CPU, AHB and APB buses clocks
  */
  RCC_ClkInitStruct.ClockType = RCC_CLOCKTYPE_HCLK|RCC_CLOCKTYPE_SYSCLK
                              |RCC_CLOCKTYPE_PCLK1|RCC_CLOCKTYPE_PCLK2;
  RCC_ClkInitStruct.SYSCLKSource = RCC_SYSCLKSOURCE_PLLCLK;
  RCC_ClkInitStruct.AHBCLKDivider = RCC_SYSCLK_DIV1;
  RCC_ClkInitStruct.APB1CLKDivider = RCC_HCLK_DIV2;
  RCC_ClkInitStruct.APB2CLKDivider = RCC_HCLK_DIV1;

  if (HAL_RCC_ClockConfig(&RCC_ClkInitStruct, FLASH_LATENCY_2) != HAL_OK)
  {
    Error_Handler();
  }

  /** Enables the Clock Security System
  */
  HAL_RCC_EnableCSS();
}

/**
  * @brief NVIC Configuration.
  * @retval None
  */
static void MX_NVIC_Init(void)
{
  /* USART2_IRQn interrupt configuration */
  HAL_NVIC_SetPriority(USART2_IRQn, 3, 1);
  HAL_NVIC_EnableIRQ(USART2_IRQn);
  /* DMA1_Stream5_IRQn interrupt configuration */
  HAL_NVIC_SetPriority(DMA1_Stream5_IRQn, 3, 0);
  HAL_NVIC_EnableIRQ(DMA1_Stream5_IRQn);
  /* ADC_IRQn interrupt configuration */
  HAL_NVIC_SetPriority(ADC_IRQn, 2, 0);
  HAL_NVIC_EnableIRQ(ADC_IRQn);
  /* TIM1_UP_TIM10_IRQn interrupt configuration */
  HAL_NVIC_SetPriority(TIM1_UP_TIM10_IRQn, 0, 0);
  HAL_NVIC_EnableIRQ(TIM1_UP_TIM10_IRQn);
  /* TIM1_BRK_TIM9_IRQn interrupt configuration */
  HAL_NVIC_SetPriority(TIM1_BRK_TIM9_IRQn, 4, 1);
  HAL_NVIC_EnableIRQ(TIM1_BRK_TIM9_IRQn);
  /* EXTI15_10_IRQn interrupt configuration */
  HAL_NVIC_SetPriority(EXTI15_10_IRQn, 3, 0);
  HAL_NVIC_EnableIRQ(EXTI15_10_IRQn);
}

void Error_Handler(void)
{
  __disable_irq();
  while (1)
  {
  }
}
